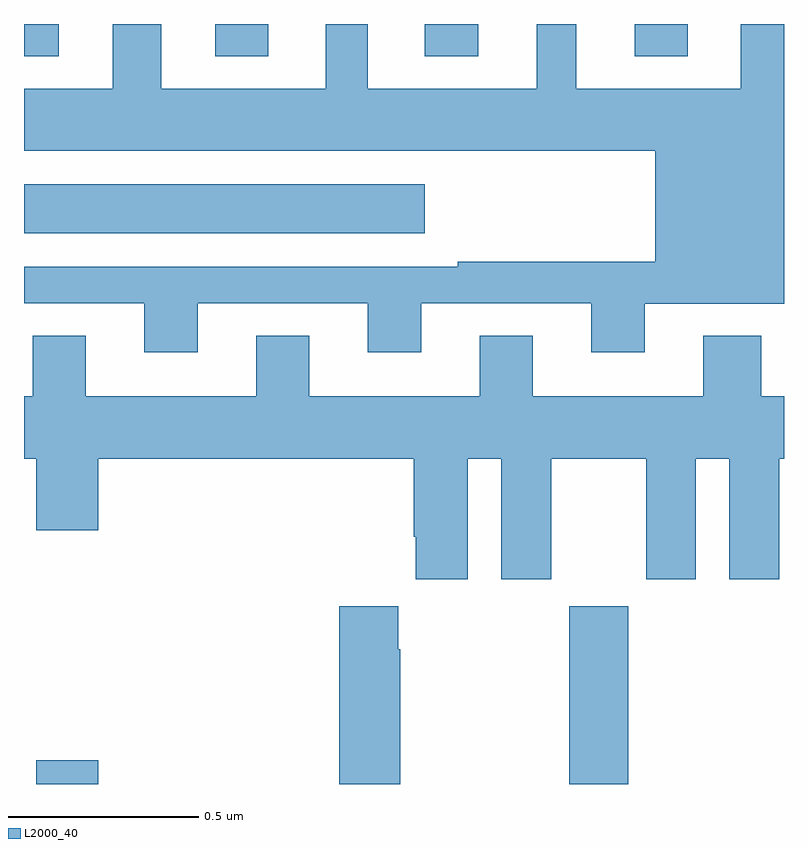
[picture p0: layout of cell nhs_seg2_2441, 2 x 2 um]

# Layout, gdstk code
import gdstk
lib = gdstk.Library(unit=1e-6, precision=1e-09)
def R(c, l, rs):  # rectangles x0, y0, x1, y1
    for r in rs: c.add(gdstk.rectangle(r[:2], r[2:], *l))
def A(c, l, x, y, w, h, nx, ny, dx, dy):  # array of equal rectangles
    R(c, l, [(x+i*dx, y+j*dy, x+i*dx+w, y+j*dy+h) for i in range(nx) for j in range(ny)])
def P(c, l, *ps):  # polygons
    for p in ps: c.add(gdstk.Polygon(p, *l))
L2000_40 = (2000, 40)

nhs_seg2_2441 = lib.new_cell('nhs_seg2_2441')
A(nhs_seg2_2441, L2000_40, 141.503, 628.715, 0.14, 0.085, 3, 1, 0.552, 0)
R(nhs_seg2_2441, L2000_40, [(141.032,626.8,141.196,626.863), (142.435,626.8,142.59,627.268), (141,628.25,142.054,628.378), (141,628.715,141.091,628.8)])
P(nhs_seg2_2441, L2000_40, [(141.457,628.065),(141.905,628.065),(141.905,627.936),(142.045,627.936),(142.045,628.065),(142.493,628.065),(142.493,627.936),(142.633,627.936),(142.633,628.064),(143,628.064),(143,628.8),(142.886,628.8),(142.886,628.63),(142.453,628.63),(142.453,628.8),(142.349,628.8),(142.349,628.63),(141.904,628.63),(141.904,628.8),(141.794,628.8),(141.794,628.63),(141.361,628.63),(141.361,628.8),(141.233,628.8),(141.233,628.63),(141,628.63),(141,628.466),(142.661,628.466),(142.661,628.174),(142.141,628.174),(142.141,628.161),(141,628.161),(141,628.065),(141.317,628.065),(141.317,627.936),(141.457,627.936)],
  [(142.168,627.656),(142.256,627.656),(142.256,627.339),(142.387,627.339),(142.387,627.656),(142.637,627.656),(142.637,627.339),(142.768,627.339),(142.768,627.656),(142.856,627.656),(142.856,627.339),(142.987,627.339),(142.987,627.656),(143,627.656),(143,627.82),(142.94,627.82),(142.94,627.979),(142.787,627.979),(142.787,627.82),(142.339,627.82),(142.339,627.98),(142.199,627.98),(142.199,627.82),(141.751,627.82),(141.751,627.98),(141.611,627.98),(141.611,627.82),(141.163,627.82),(141.163,627.98),(141.023,627.98),(141.023,627.82),(141,627.82),(141,627.656),(141.032,627.656),(141.032,627.468),(141.196,627.468),(141.196,627.656),(142.025,627.656),(142.025,627.451),(142.031,627.451),(142.031,627.339),(142.168,627.339)],
  [(141.99,627.155),(141.985,627.155),(141.985,627.268),(141.83,627.268),(141.83,626.8),(141.99,626.8)])

lib.write_gds('nhs_seg2_2441.gds')
